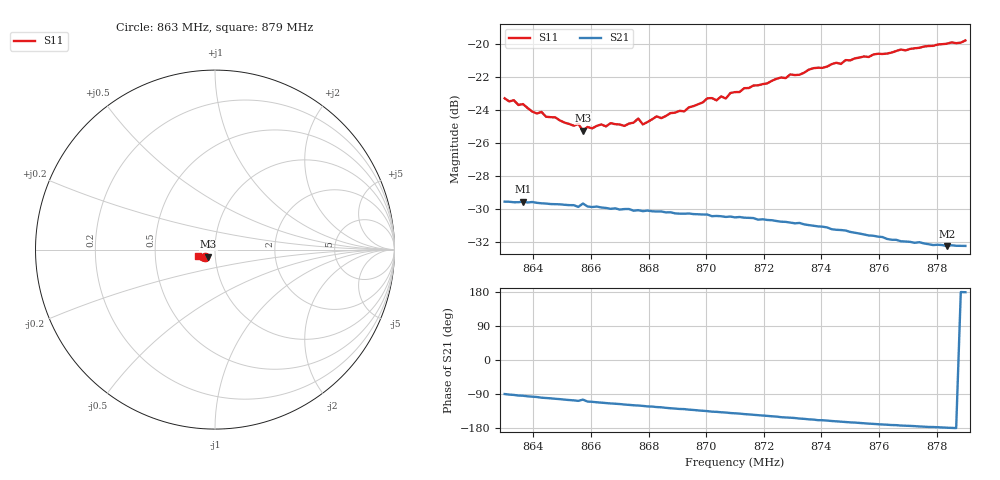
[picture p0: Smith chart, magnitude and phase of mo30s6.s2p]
# HZ S RI R 50
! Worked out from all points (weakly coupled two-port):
!   101 points, 863 MHz to 879 MHz, reference 50 ohm
!   highest |S21| = -29.55 dB at 863.64 MHz (marker M1); lowest = -32.3 dB at 878.36 MHz (marker M2)
!   lowest |S11| = -25.2 dB at 865.72 MHz (marker M3), VSWR 1.12, Z = 46.3 - j3.73 ohm
!   |S11| at or under -10 dB: start of sweep to end of sweep
!   S12 and S22 are empty: the file has one direction only
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8.63e8  -0.0553 -0.0405  0.000106 -0.0333  0 0  0 0
8.6364e8  -0.0525 -0.0398  -0.00252 -0.0332  0 0  0 0
8.6412e8  -0.0477 -0.039  -0.00441 -0.0327  0 0  0 0
8.6428e8  -0.0475 -0.0404  -0.00538 -0.0324  0 0  0 0
8.6444e8  -0.0458 -0.0392  -0.00587 -0.0323  0 0  0 0
8.654e8  -0.0412 -0.0388  -0.00922 -0.0311  0 0  0 0
8.6556e8  -0.0415 -0.0394  -0.00981 -0.0305  0 0  0 0
8.6572e8  -0.0371 -0.0402  -0.00826 -0.0318  0 0  0 0
8.6668e8  -0.0383 -0.043  -0.0132 -0.0288  0 0  0 0
8.6716e8  -0.0355 -0.0439  -0.0146 -0.028  0 0  0 0
8.6764e8  -0.0369 -0.0467  -0.0157 -0.0271  0 0  0 0
8.678e8  -0.0356 -0.0446  -0.0161 -0.0266  0 0  0 0
8.6828e8  -0.0355 -0.0489  -0.0175 -0.0257  0 0  0 0
8.6844e8  -0.0342 -0.0489  -0.0177 -0.0255  0 0  0 0
8.6924e8  -0.0359 -0.0513  -0.0195 -0.0236  0 0  0 0
8.7004e8  -0.0388 -0.0565  -0.0215 -0.0215  0 0  0 0
8.7068e8  -0.0392 -0.0561  -0.0224 -0.0198  0 0  0 0
8.71e8  -0.0414 -0.0584  -0.0231 -0.0189  0 0  0 0
8.7372e8  -0.0569 -0.0627  -0.0259 -0.0109  0 0  0 0
8.7644e8  -0.0765 -0.0553  -0.0252 -0.00371  0 0  0 0
8.7836e8  -0.0908 -0.0428  -0.0244 -0.000572  0 0  0 0
8.79e8  -0.0954 -0.0382  -0.0244 0.000491  0 0  0 0
